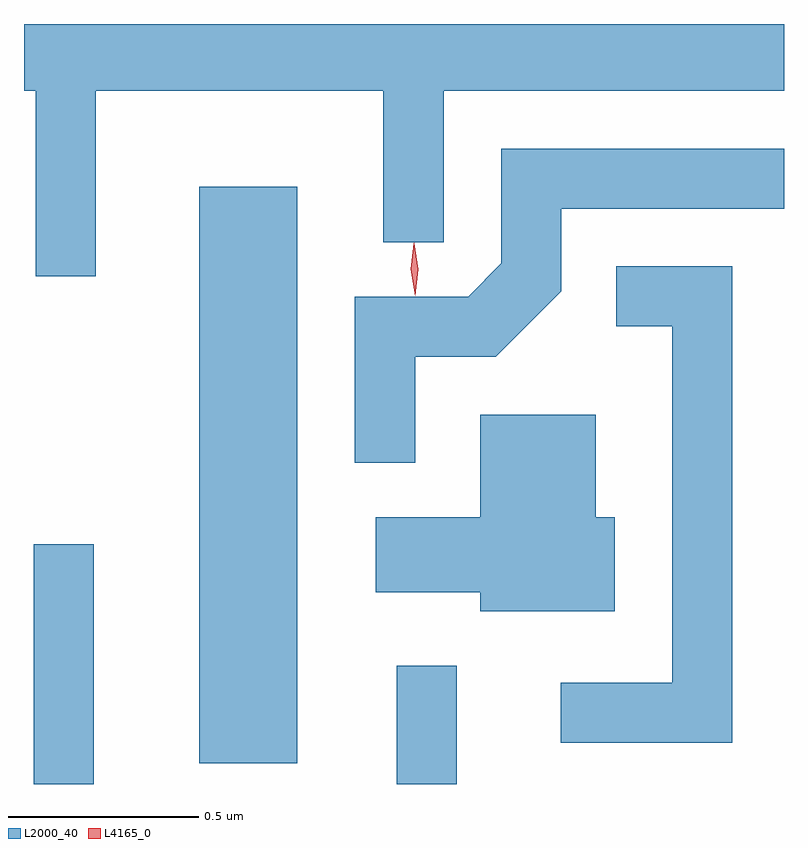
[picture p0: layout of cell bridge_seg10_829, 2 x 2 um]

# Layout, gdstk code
import gdstk
lib = gdstk.Library(unit=1e-6, precision=1e-09)
def R(c, l, rs):  # rectangles x0, y0, x1, y1
    for r in rs: c.add(gdstk.rectangle(r[:2], r[2:], *l))
def P(c, l, *ps):  # polygons
    for p in ps: c.add(gdstk.Polygon(p, *l))
L2000_40 = (2000, 40)
L4165_0 = (4165, 0)

bridge_seg10_829 = lib.new_cell('bridge_seg10_829')
R(bridge_seg10_829, L2000_40, [(440.501,2132.072,440.659,2132.703), (441.456,2132.072,441.614,2132.383), (440.936,2132.126,441.194,2133.644)])
P(bridge_seg10_829, L2000_40, [(440.664,2133.896),(441.421,2133.896),(441.421,2133.498),(441.579,2133.498),(441.579,2133.896),(442.475,2133.896),(442.475,2134.072),(440.475,2134.072),(440.475,2133.896),(440.506,2133.896),(440.506,2133.408),(440.664,2133.408)],
  [(441.504,2133.196),(441.717,2133.196),(441.889,2133.369),(441.889,2133.586),(442.475,2133.586),(442.475,2133.744),(441.731,2133.744),(441.731,2133.442),(441.644,2133.354),(441.346,2133.354),(441.346,2132.918),(441.504,2132.918)],
  [(442.339,2133.434),(442.033,2133.434),(442.033,2133.276),(442.181,2133.276),(442.181,2132.339),(441.888,2132.339),(441.888,2132.181),(442.339,2132.181)],
  [(442.029,2132.774),(441.979,2132.774),(441.979,2133.044),(441.676,2133.044),(441.676,2132.774),(441.401,2132.774),(441.401,2132.576),(441.676,2132.576),(441.676,2132.526),(442.029,2132.526)])
P(bridge_seg10_829, L4165_0, [(441.504,2133.357),(441.504,2133.357),(441.493,2133.426),(441.501,2133.495),(441.502,2133.496),(441.502,2133.495),(441.513,2133.426),(441.504,2133.357)],
  [(441.504,2133.359),(441.504,2133.36),(441.493,2133.426),(441.501,2133.492),(441.502,2133.492),(441.502,2133.492),(441.513,2133.426),(441.504,2133.36)])

lib.write_gds('bridge_seg10_829.gds')
